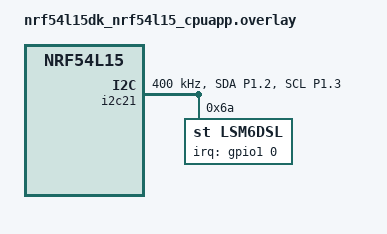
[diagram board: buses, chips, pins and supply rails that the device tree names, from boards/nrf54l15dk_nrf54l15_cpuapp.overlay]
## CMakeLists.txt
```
# SPDX-License-Identifier: Apache-2.0

cmake_minimum_required(VERSION 3.20.0)

list(APPEND ZEPHYR_EXTRA_MODULES ${CMAKE_CURRENT_SOURCE_DIR}/drivers)
list(APPEND DTS_ROOT ${CMAKE_CURRENT_SOURCE_DIR})

find_package(Zephyr REQUIRED HINTS $ENV{ZEPHYR_BASE})
project(lsm6ds3)

FILE(GLOB app_sources src/*.c)
target_sources(app PRIVATE ${app_sources})
```

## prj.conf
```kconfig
CONFIG_STDOUT_CONSOLE=y
CONFIG_I2C=y
CONFIG_SENSOR=y
CONFIG_LSM6DS3=y
CONFIG_LSM6DS3_TRIGGER_GLOBAL_THREAD=y
CONFIG_GPIO=y
CONFIG_CBPRINTF_FP_SUPPORT=y

CONFIG_LOG=y
```

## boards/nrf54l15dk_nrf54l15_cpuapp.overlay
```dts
/*
 * Device tree overlay for LSM6DS3 breakout on nRF54L15 DK
 *
 * Wiring:
 *   Breakout SDA  -> P1.02  (PORT 1, pin 2)
 *   Breakout SCL  -> P1.03  (PORT 1, pin 3)
 *   Breakout CS   -> 3V3    (force I2C mode)
 *   Breakout SAD  -> GND    (I2C address 0x6A)
 *   Breakout 3V3  -> VDD.IO
 *   Breakout GND  -> GND
 */

&pinctrl {
	i2c21_default: i2c21_default {
		group1 {
			psels = <NRF_PSEL(TWIM_SDA, 1, 2)>,
				<NRF_PSEL(TWIM_SCL, 1, 3)>;
			bias-pull-up;
		};
	};

	i2c21_sleep: i2c21_sleep {
		group1 {
			psels = <NRF_PSEL(TWIM_SDA, 1, 2)>,
				<NRF_PSEL(TWIM_SCL, 1, 3)>;
			low-power-enable;
		};
	};
};

&i2c21 {
	status = "okay";
	clock-frequency = <I2C_BITRATE_FAST>;
	pinctrl-0 = <&i2c21_default>;
	pinctrl-1 = <&i2c21_sleep>;
	pinctrl-names = "default", "sleep";

	lsm6dsl: lsm6dsl@6a {
		compatible = "st,lsm6dsl";
		reg = <0x6a>;
		irq-gpios = <&gpio1 0 GPIO_ACTIVE_HIGH>;
	};
};
```

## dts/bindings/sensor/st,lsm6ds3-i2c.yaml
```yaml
# SPDX-License-Identifier: Apache-2.0

description: |
  STMicroelectronics LSM6DS3 6-axis accelerometer and gyroscope accessed through
  I2C bus

compatible: "st,lsm6ds3"

include: ["i2c-device.yaml", "st,lsm6ds3-common.yaml"]
```

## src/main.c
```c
/*
 * Copyright (c) 2018 STMicroelectronics
 *
 * SPDX-License-Identifier: Apache-2.0
 */

#include <zephyr/kernel.h>
#include <zephyr/device.h>
#include <zephyr/drivers/sensor.h>
#include <stdio.h>
#include <zephyr/sys/util.h>

static int print_samples;
static int lsm6dsl_trig_cnt;

static struct sensor_value accel_x_out, accel_y_out, accel_z_out;
static struct sensor_value gyro_x_out, gyro_y_out, gyro_z_out;
#if defined(CONFIG_LSM6DSL_EXT0_LIS2MDL)
static struct sensor_value magn_x_out, magn_y_out, magn_z_out;
#endif
#if defined(CONFIG_LSM6DSL_EXT0_LPS22HB)
static struct sensor_value press_out, temp_out;
#endif

#ifdef CONFIG_LSM6DSL_TRIGGER
static void lsm6dsl_trigger_handler(const struct device *dev,
				    const struct sensor_trigger *trig)
{
	static struct sensor_value accel_x, accel_y, accel_z;
	static struct sensor_value gyro_x, gyro_y, gyro_z;
#if defined(CONFIG_LSM6DSL_EXT0_LIS2MDL)
	static struct sensor_value magn_x, magn_y, magn_z;
#endif
#if defined(CONFIG_LSM6DSL_EXT0_LPS22HB)
	static struct sensor_value press, temp;
#endif
	lsm6dsl_trig_cnt++;

	sensor_sample_fetch_chan(dev, SENSOR_CHAN_ACCEL_XYZ);
	sensor_channel_get(dev, SENSOR_CHAN_ACCEL_X, &accel_x);
	sensor_channel_get(dev, SENSOR_CHAN_ACCEL_Y, &accel_y);
	sensor_channel_get(dev, SENSOR_CHAN_ACCEL_Z, &accel_z);

	/* lsm6dsl gyro */
	sensor_sample_fetch_chan(dev, SENSOR_CHAN_GYRO_XYZ);
	sensor_channel_get(dev, SENSOR_CHAN_GYRO_X, &gyro_x);
	sensor_channel_get(dev, SENSOR_CHAN_GYRO_Y, &gyro_y);
	sensor_channel_get(dev, SENSOR_CHAN_GYRO_Z, &gyro_z);

#if defined(CONFIG_LSM6DSL_EXT0_LIS2MDL)
	/* lsm6dsl external magn */
	sensor_sample_fetch_chan(dev, SENSOR_CHAN_MAGN_XYZ);
	sensor_channel_get(dev, SENSOR_CHAN_MAGN_X, &magn_x);
	sensor_channel_get(dev, SENSOR_CHAN_MAGN_Y, &magn_y);
	sensor_channel_get(dev, SENSOR_CHAN_MAGN_Z, &magn_z);
#endif

#if defined(CONFIG_LSM6DSL_EXT0_LPS22HB)
	/* lsm6dsl external press/temp */
	sensor_sample_fetch_chan(dev, SENSOR_CHAN_PRESS);
	sensor_channel_get(dev, SENSOR_CHAN_PRESS, &press);

	sensor_sample_fetch_chan(dev, SENSOR_CHAN_AMBIENT_TEMP);
	sensor_channel_get(dev, SENSOR_CHAN_AMBIENT_TEMP, &temp);
#endif

	if (print_samples) {
		print_samples = 0;

		accel_x_out = accel_x;
		accel_y_out = accel_y;
		accel_z_out = accel_z;

		gyro_x_out = gyro_x;
		gyro_y_out = gyro_y;
		gyro_z_out = gyro_z;

#if defined(CONFIG_LSM6DSL_EXT0_LIS2MDL)
		magn_x_out = magn_x;
		magn_y_out = magn_y;
		magn_z_out = magn_z;
#endif

#if defined(CONFIG_LSM6DSL_EXT0_LPS22HB)
		press_out = press;
		temp_out = temp;
#endif
	}

}
#endif

int main(void)
{
	int cnt = 0;
	char out_str[64];
	struct sensor_value odr_attr;
	const struct device *const lsm6dsl_dev = DEVICE_DT_GET_ONE(st_lsm6ds3);

	if (!device_is_ready(lsm6dsl_dev)) {
		printk("sensor: device not ready.\n");
		return 0;
	}

	/* set accel/gyro sampling frequency to 104 Hz */
	odr_attr.val1 = 104;
	odr_attr.val2 = 0;

	if (sensor_attr_set(lsm6dsl_dev, SENSOR_CHAN_ACCEL_XYZ,
			    SENSOR_ATTR_SAMPLING_FREQUENCY, &odr_attr) < 0) {
		printk("Cannot set sampling frequency for accelerometer.\n");
		return 0;
	}

	if (sensor_attr_set(lsm6dsl_dev, SENSOR_CHAN_GYRO_XYZ,
			    SENSOR_ATTR_SAMPLING_FREQUENCY, &odr_attr) < 0) {
		printk("Cannot set sampling frequency for gyro.\n");
		return 0;
	}

#ifdef CONFIG_LSM6DSL_TRIGGER
	struct sensor_trigger trig;

	trig.type = SENSOR_TRIG_DATA_READY;
	trig.chan = SENSOR_CHAN_ACCEL_XYZ;

	if (sensor_trigger_set(lsm6dsl_dev, &trig, lsm6dsl_trigger_handler) != 0) {
		printk("Could not set sensor type and channel\n");
		return 0;
	}
#endif

	if (sensor_sample_fetch(lsm6dsl_dev) < 0) {
		printk("Sensor sample update error\n");
		return 0;
	}

	while (1) {
		sensor_sample_fetch_chan(lsm6dsl_dev, SENSOR_CHAN_ACCEL_XYZ);
		sensor_channel_get(lsm6dsl_dev, SENSOR_CHAN_ACCEL_X, &accel_x_out);
		sensor_channel_get(lsm6dsl_dev, SENSOR_CHAN_ACCEL_Y, &accel_y_out);
		sensor_channel_get(lsm6dsl_dev, SENSOR_CHAN_ACCEL_Z, &accel_z_out);

		sensor_sample_fetch_chan(lsm6dsl_dev, SENSOR_CHAN_GYRO_XYZ);
		sensor_channel_get(lsm6dsl_dev, SENSOR_CHAN_GYRO_X, &gyro_x_out);
		sensor_channel_get(lsm6dsl_dev, SENSOR_CHAN_GYRO_Y, &gyro_y_out);
		sensor_channel_get(lsm6dsl_dev, SENSOR_CHAN_GYRO_Z, &gyro_z_out);

		printk("\0033\014");
		printf("LSM6DS3 sensor samples:\n\n");

		sprintf(out_str, "accel x:%f ms/2 y:%f ms/2 z:%f ms/2",
				sensor_value_to_double(&accel_x_out),
				sensor_value_to_double(&accel_y_out),
				sensor_value_to_double(&accel_z_out));
		printk("%s\n", out_str);

		sprintf(out_str, "gyro x:%f dps y:%f dps z:%f dps",
				sensor_value_to_double(&gyro_x_out),
				sensor_value_to_double(&gyro_y_out),
				sensor_value_to_double(&gyro_z_out));
		printk("%s\n", out_str);

		printk("loop:%d\n\n", ++cnt);

		k_sleep(K_MSEC(2000));
	}
}
```

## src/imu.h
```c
#ifndef IMU_H
#define IMU_H

#include <stdint.h>

/* One IMU sample: accel XYZ in mg, gyro XYZ in mdps */
struct imu_sample {
	int16_t accel_x;
	int16_t accel_y;
	int16_t accel_z;
	int16_t gyro_x;
	int16_t gyro_y;
	int16_t gyro_z;
};

int imu_start(void);

#endif /* IMU_H */
```
